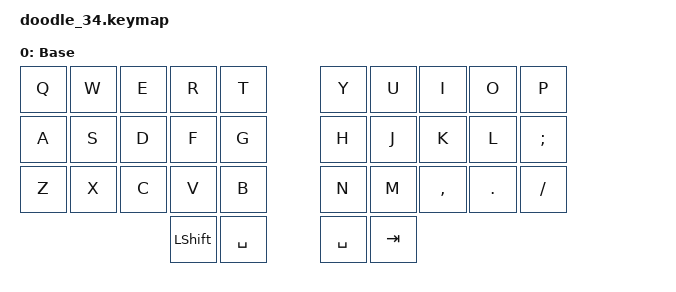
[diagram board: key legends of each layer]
/*
 * Copyright (c) 2024 Stephen Onnen
 *
 * SPDX-License-Identifier: MIT
 */

#include <behaviors.dtsi>
#include <dt-bindings/zmk/keys.h>
#include <dt-bindings/zmk/bt.h>
#include <dt-bindings/zmk/outputs.h>

// Layer definitions
#define BASE 0
// #define NUM 1
// #define SYM 2
// #define NAV 2
// #define FNC 4
// #define SYS 5
// -----------------

&sk {
	// don't release mods on other mods presses
	ignore-modifiers;
};


/ {
	behaviors {
		// Enables holding the first mod-tap key
		// by performing a tap-release-hold sequence.
		// To use it: "&qt KEYCODE1 KEYCODE2"
		// qt: quick_tap {
		// 	compatible = "zmk,behavior-hold-tap";
		// 	label = "QUICK_TAP";
		// 	#binding-cells = <2>;
		// 	flavor = "hold-preferred";
		// 	tapping-term-ms = <200>;
		// 	quick-tap-ms = <200>;
		// 	bindings = <&kp>, <&kp>;
		// };
	};

	keymap {
		compatible = "zmk,keymap";
		default_layer {
			label = "Base";
			bindings = <
			&kp Q &kp W &kp E &kp R &kp T           &kp Y &kp U  &kp I     &kp O   &kp P 
			&kp A &kp S &kp D &kp F &kp G           &kp H &kp J  &kp K     &kp L &kp SEMICOLON
			&kp Z &kp X &kp C &kp V &kp B           &kp N &kp M  &kp COMMA &kp DOT &kp SLASH
				&kp LSHIFT &kp SPACE                &kp SPACE &kp TAB 
			>;
		};

		// num_layer {
		// 	label = "Sym.";
		// 	bindings = <
		// 	&kp SLASH &kp N7 &kp N8 &kp N9 &kp MINUS	&kp DOLLAR &kp AMPS &kp EXCL &kp EQUAL &kp CARET
		// 	&kp N0 &kp N4 &kp N5 &kp N6 &kp DOT		&kp LPAR &kp RPAR &kp SQT &kp DQT &kp BSLH
		// 	&kp ASTERISK &kp N1 &kp N2 &kp N3 &kp PLUS 	&kp HASH &kp UNDER &kp AT &kp PERCENT &kp PIPE
		// 				&mo FNC  &mo SYM2       &trans &trans
		// 	>;
		// };

		// sym_layer {
		// 	label = "Sym.";
		// 	bindings = <
		// 	&kp SLASH &kp N7 &kp N8 &kp N9 &kp MINUS	&kp DOLLAR &kp AMPS &kp EXCL &kp EQUAL &kp CARET
		// 	&kp N0 &kp N4 &kp N5 &kp N6 &kp DOT		&kp LPAR &kp RPAR &kp SQT &kp DQT &kp BSLH
		// 	&kp ASTERISK &kp N1 &kp N2 &kp N3 &kp PLUS 	&kp HASH &kp UNDER &kp AT &kp PERCENT &kp PIPE
		// 				&mo FNC  &mo SYM2       &trans &trans
		// 	>;
		// };

		// nav_layer {
		// 	label = "Sym.";
		// 	bindings = <
		// 	&kp SLASH &kp N7 &kp N8 &kp N9 &kp MINUS	&kp DOLLAR &kp AMPS &kp EXCL &kp EQUAL &kp CARET
		// 	&kp N0 &kp N4 &kp N5 &kp N6 &kp DOT		&kp LPAR &kp RPAR &kp SQT &kp DQT &kp BSLH
		// 	&kp ASTERISK &kp N1 &kp N2 &kp N3 &kp PLUS 	&kp HASH &kp UNDER &kp AT &kp PERCENT &kp PIPE
		// 				&mo FNC  &mo SYM2       &trans &trans
		// 	>;
		// };
	};
};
